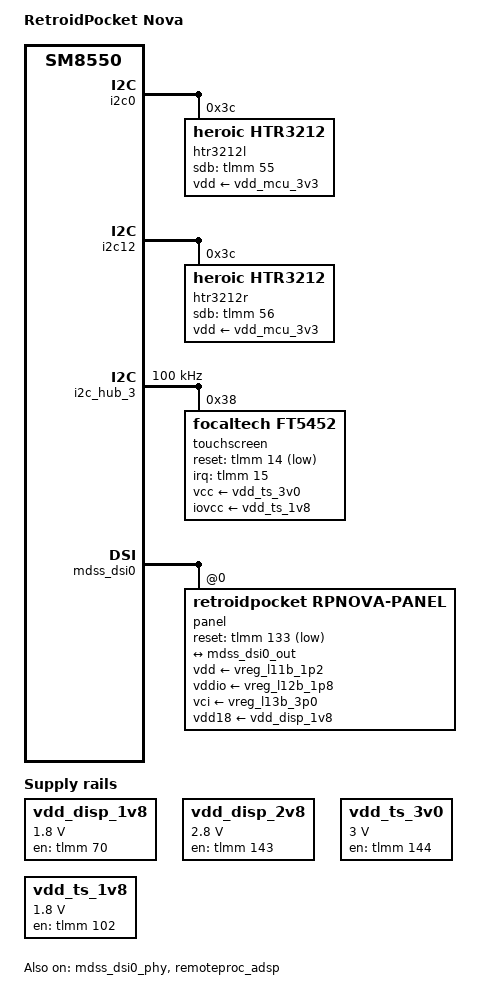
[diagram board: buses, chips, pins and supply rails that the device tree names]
// SPDX-License-Identifier: BSD-3-Clause
/*
 * Copyright (c) 2026, Teguh Sobirin.
 */

/dts-v1/;

#include "qcs8550-retroidpocket-common.dtsi"

/ {
	model = "RetroidPocket Nova";
	compatible = "retroidpocket,rpnova", "qcom,qcs8550", "qcom,sm8550";
	qcom,msm-id = <603 0x20000>;
	qcom,board-id = <0x1001f 0>;

	vdd_disp_1v8: vdd-disp-1v8-regulator {
		compatible = "regulator-fixed";
		regulator-name = "vdd_disp_1v8";

		regulator-min-microvolt = <1800000>;
		regulator-max-microvolt = <1800000>;

		gpio = <&tlmm 70 GPIO_ACTIVE_HIGH>;
		enable-active-high;
	};

	vdd_disp_2v8: vdd-disp-2v8-regulator {
		compatible = "regulator-fixed";
		regulator-name = "vdd_disp_2v8";

		regulator-min-microvolt = <2800000>;
		regulator-max-microvolt = <2800000>;

		gpio = <&tlmm 143 GPIO_ACTIVE_HIGH>;
		enable-active-high;
	};

	vdd_ts_3v0: vdd-ts-3v0-regulator {
		compatible = "regulator-fixed";
		regulator-name = "vdd_ts_3v0";

		regulator-min-microvolt = <3000000>;
		regulator-max-microvolt = <3000000>;

		gpio = <&tlmm 144 GPIO_ACTIVE_HIGH>;
		enable-active-high;
	};

	vdd_ts_1v8: vdd-ts-1v8-regulator {
		compatible = "regulator-fixed";
		regulator-name = "vdd_ts_1v8";

		regulator-min-microvolt = <1800000>;
		regulator-max-microvolt = <1800000>;

		gpio = <&tlmm 102 GPIO_ACTIVE_HIGH>;
		enable-active-high;
	};
};

&gamepad {
	axis-range = <1024>;
	invert-x;
	invert-y;
	trigger-left-deadzone = <100>;
	trigger-right-deadzone = <100>;
};

&i2c0 {
	htr3212l: led-controller@3c {
		compatible = "heroic,htr3212";
		reg = <0x3c>;
		#address-cells = <1>;
		#size-cells = <0>;
		sdb-gpios = <&tlmm 55 GPIO_ACTIVE_HIGH>;
		vdd-supply = <&vdd_mcu_3v3>;

		ledl_b1: led@1 {
			reg = <1>;
			label = "l:r1";
			color = <LED_COLOR_ID_RED>;
		};
		ledl_g1: led@2 {
			reg = <2>;
			label = "l:g1";
			color = <LED_COLOR_ID_GREEN>;
		};
		ledl_r1: led@3 {
			reg = <3>;
			label = "l:b1";
			color = <LED_COLOR_ID_BLUE>;
		};
		ledl_b2: led@4 {
			reg = <4>;
			label = "l:r2";
			color = <LED_COLOR_ID_RED>;
		};
		ledl_g2: led@5 {
			reg = <5>;
			label = "l:g2";
			color = <LED_COLOR_ID_GREEN>;
		};
		ledl_r2: led@6 {
			reg = <6>;
			label = "l:b2";
			color = <LED_COLOR_ID_BLUE>;
		};
		ledl_b3: led@7 {
			reg = <7>;
			label = "l:r3";
			color = <LED_COLOR_ID_RED>;
		};
		ledl_g3: led@8 {
			reg = <8>;
			label = "l:g3";
			color = <LED_COLOR_ID_GREEN>;
		};
		ledl_r3: led@9 {
			reg = <9>;
			label = "l:b3";
			color = <LED_COLOR_ID_BLUE>;
		};
		ledl_b4: led@a {
			reg = <10>;
			label = "l:r4";
			color = <LED_COLOR_ID_RED>;
		};
		ledl_g4: led@b {
			reg = <11>;
			label = "l:g4";
			color = <LED_COLOR_ID_GREEN>;
		};
		ledl_r4: led@c {
			reg = <12>;
			label = "l:b4";
			color = <LED_COLOR_ID_BLUE>;
		};
	};
};

&i2c12 {
	htr3212r: led-controller@3c {
		compatible = "heroic,htr3212";
		reg = <0x3c>;
		#address-cells = <1>;
		#size-cells = <0>;
		sdb-gpios = <&tlmm 56 GPIO_ACTIVE_HIGH>;
		vdd-supply = <&vdd_mcu_3v3>;

		ledr_b1: led@1 {
			reg = <1>;
			label = "r:r1";
			color = <LED_COLOR_ID_RED>;
		};
		ledr_g1: led@2 {
			reg = <2>;
			label = "r:g1";
			color = <LED_COLOR_ID_GREEN>;
		};
		ledr_r1: led@3 {
			reg = <3>;
			label = "r:b1";
			color = <LED_COLOR_ID_BLUE>;
		};
		ledr_b2: led@4 {
			reg = <4>;
			label = "r:r2";
			color = <LED_COLOR_ID_RED>;
		};
		ledr_g2: led@5 {
			reg = <5>;
			label = "r:g2";
			color = <LED_COLOR_ID_GREEN>;
		};
		ledr_r2: led@6 {
			reg = <6>;
			label = "r:b2";
 			color = <LED_COLOR_ID_BLUE>;
		};
		ledr_b3: led@7 {
			reg = <7>;
			label = "r:r3";
			color = <LED_COLOR_ID_RED>;
		};
		ledr_g3: led@8 {
			reg = <8>;
			label = "r:g3";
			color = <LED_COLOR_ID_GREEN>;
		};
		ledr_r3: led@9 {
			reg = <9>;
			label = "r:b3";
			color = <LED_COLOR_ID_BLUE>;
		};
		ledr_b4: led@a {
			reg = <10>;
			label = "r:r4";
			color = <LED_COLOR_ID_RED>;
		};
		ledr_g4: led@b {
			reg = <11>;
			label = "r:g4";
			color = <LED_COLOR_ID_GREEN>;
		};
		ledr_r4: led@c {
			reg = <12>;
			label = "r:b4";
			color = <LED_COLOR_ID_BLUE>;
		};
	};
};

&i2c_hub_3 {
	clock-frequency = <100000>;
	status = "okay";

	touchscreen@38 {
		compatible = "focaltech,ft5452";
		reg = <0x38>;
		#address-cells = <1>;
		#size-cells = <0>;

		interrupt-parent = <&tlmm>;
		interrupts = <15 IRQ_TYPE_EDGE_FALLING>;

		reset-gpios = <&tlmm 14 GPIO_ACTIVE_LOW>;

		vcc-supply = <&vdd_ts_3v0>;
		iovcc-supply = <&vdd_ts_1v8>;

		pinctrl-0 = <&ts_p_rst_default &ts_p_int_default>;
		pinctrl-1 = <&ts_p_rst_sleep &ts_p_int_sleep>;
		pinctrl-names = "default", "sleep";

		touchscreen-size-x = <1280>;
		touchscreen-size-y = <960>;

		no-regmap-bulk-read;
	};
};

&mdss_dsi0 {
	vdda-supply = <&vreg_l3e_1p2>;
	status = "okay";

	panel@0 {
		reg = <0>;
		compatible = "retroidpocket,rpnova-panel";

		pinctrl-0 = <&dsi_p_rst_active>, <&dsi_p_te>;
		pinctrl-1 = <&dsi_p_rst_suspend>, <&dsi_p_te>;
		pinctrl-names = "default", "sleep";

		vdd-supply = <&vreg_l11b_1p2>;
		vddio-supply = <&vreg_l12b_1p8>;
		vci-supply = <&vreg_l13b_3p0>;
		vdd18-supply = <&vdd_disp_1v8>;
		vdd28-supply = <&vdd_disp_2v8>;

		reset-gpios = <&tlmm 133 GPIO_ACTIVE_LOW>;

		rotation = <0>;

		port {
			panel0_in: endpoint {
				remote-endpoint = <&mdss_dsi0_out>;
			};
		};
	};
};

&mdss_dsi0_out {
	remote-endpoint = <&panel0_in>;
	data-lanes = <0 1 2 3>;
};

&mdss_dsi0_phy {
	vdds-supply = <&vreg_l1e_0p88>;
	status = "okay";
};

&remoteproc_adsp {
	firmware-name = "qcom/sm8550/retroidpocket/rpnova/adsp.mbn",
			"qcom/sm8550/retroidpocket/rpnova/adsp_dtb.mbn";
	status = "okay";
};

&spk_amp_l {
	firmware-name = "qcom/sm8550/retroidpocket/rpnova/aw883xx_acf.bin";
};

&spk_amp_r {
	firmware-name = "qcom/sm8550/retroidpocket/rpnova/aw883xx_acf.bin";
};

